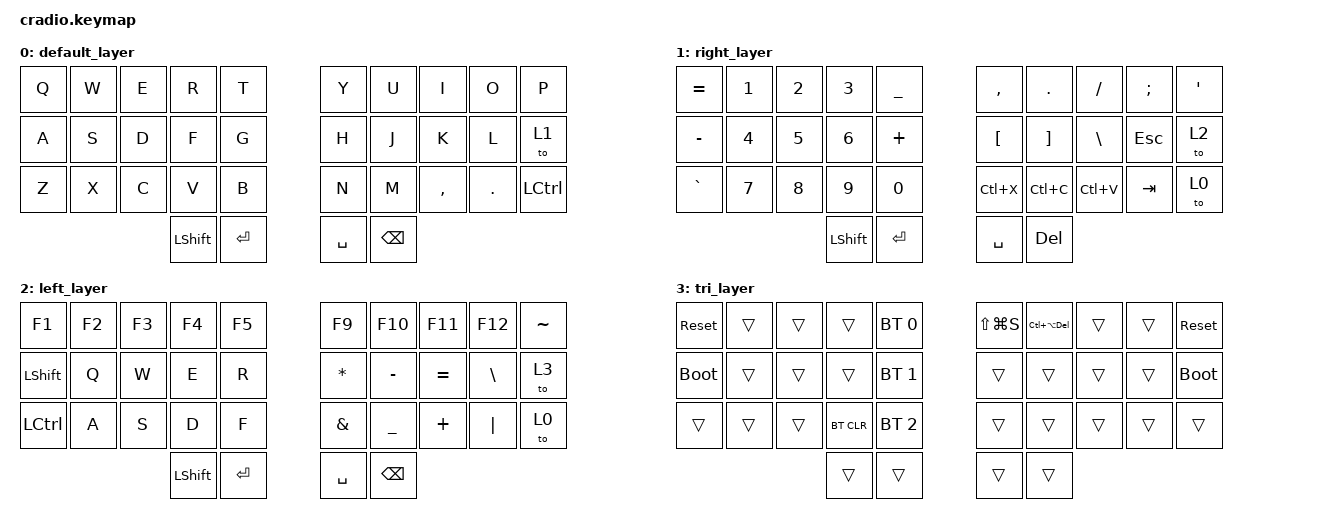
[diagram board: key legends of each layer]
// Copyright (c) 2022 The ZMK Contributors
// SPDX-License-Identifier: MIT

#include <behaviors.dtsi>
#include <dt-bindings/zmk/bt.h>
#include <dt-bindings/zmk/keys.h>

// Home row mods macro
//#define HRML(k1,k2,k3,k4) &ht LSHFT k1  &ht LALT k2  &ht LCTRL k3  &ht LGUI k4
//#define HRMR(k1,k2,k3,k4) &ht RGUI k1  &ht RCTRL k2  &ht RALT k3  &ht RSHFT k4

/ {
    behaviors {
        ht: hold_tap {
            compatible = "zmk,behavior-hold-tap";
            #binding-cells = <2>;
            flavor = "tap-preferred";
            tapping-term-ms = <220>;
            quick-tap-ms = <150>;
            require-prior-idle-ms = <100>;
            bindings = <&kp>, <&kp>;
        };
    };

    conditional_layers {
        compatible = "zmk,conditional-layers";

        tri_layer {
            if-layers = <1 2>;
            then-layer = <3>;
        };
    };

    keymap {
        compatible = "zmk,keymap";

        default_layer {
            bindings = <
&kp Q  &kp W  &kp E  &kp R           &kp T        &kp Y      &kp U          &kp I      &kp O    &kp P
&kp A  &kp S  &kp D  &kp F           &kp G        &kp H      &kp J          &kp K      &kp L    &to 1
&kp Z  &kp X  &kp C  &kp V           &kp B        &kp N      &kp M          &kp COMMA  &kp DOT  &kp LCTRL
                     &kp LEFT_SHIFT  &kp ENTER    &kp SPACE  &kp BACKSPACE
            >;
        };

        right_layer {
            bindings = <
&kp EQUAL  &kp N1  &kp N2  &kp N3          &kp UNDER    &kp COMMA         &kp DOT            &kp SLASH      &kp SEMI    &kp SINGLE_QUOTE
&kp MINUS  &kp N4  &kp N5  &kp N6          &kp PLUS     &kp LEFT_BRACKET  &kp RIGHT_BRACKET  &kp BACKSLASH  &kp ESCAPE  &to 2
&kp GRAVE  &kp N7  &kp N8  &kp N9          &kp N0       &kp LC(X)         &kp LC(C)          &kp LC(V)      &kp TAB     &to 0
                           &kp LEFT_SHIFT  &kp ENTER    &kp SPACE         &kp DEL
            >;
        };

        left_layer {
            bindings = <
&kp F1          &kp F2  &kp F3  &kp F4          &kp F5       &kp F9     &kp F10        &kp F11    &kp F12   &kp TILDE
&kp LEFT_SHIFT  &kp Q   &kp W   &kp E           &kp R        &kp ASTRK  &kp MINUS      &kp EQUAL  &kp BSLH  &to 3
&kp LCTRL       &kp A   &kp S   &kp D           &kp F        &kp AMPS   &kp UNDER      &kp PLUS   &kp PIPE  &to 0
                                &kp LEFT_SHIFT  &kp ENTER    &kp SPACE  &kp BACKSPACE
            >;
        };

        tri_layer {
            bindings = <
&sys_reset   &trans  &trans  &trans      &bt BT_SEL 0    &kp LS(LG(S))  &kp LC(LA(DEL))  &trans  &trans  &sys_reset
&bootloader  &trans  &trans  &trans      &bt BT_SEL 1    &trans         &trans           &trans  &trans  &bootloader
&trans       &trans  &trans  &bt BT_CLR  &bt BT_SEL 2    &trans         &trans           &trans  &trans  &trans
                             &trans      &trans          &trans         &trans
            >;
        };
    };
};
